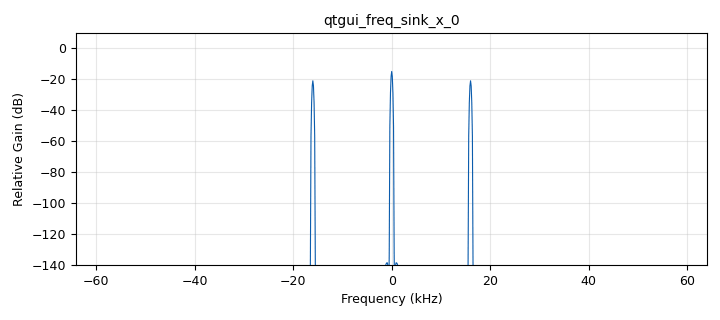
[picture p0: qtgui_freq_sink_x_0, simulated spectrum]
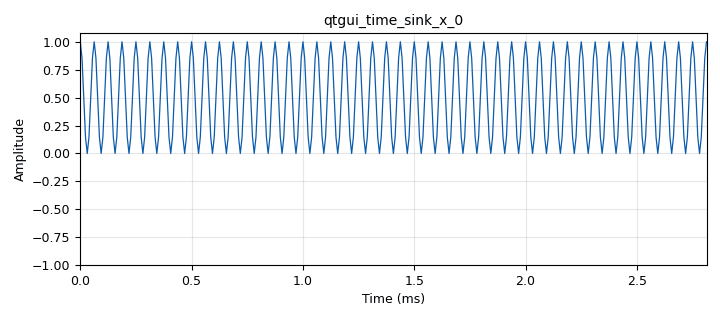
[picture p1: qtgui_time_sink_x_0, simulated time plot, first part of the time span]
options:
  parameters:
    author: DBarrios_SCampo
    generate_options: qt_gui
    id: Parte3
    output_language: python
    title: Prac1_C
  states: {}

blocks:
- name: samp_rate
  id: variable
  parameters:
    value: '128000'
  states: {}
- name: analog_sig_source_x_1
  id: analog_sig_source_x
  parameters:
    amp: '1'
    freq: '8000'
    offset: '0'
    phase: '0'
    samp_rate: samp_rate
    type: float
    waveform: analog.GR_COS_WAVE
  states: {}
- name: analog_sig_source_x_2
  id: analog_sig_source_x
  parameters:
    amp: '1'
    freq: '8000'
    offset: '0'
    phase: '0'
    samp_rate: samp_rate
    type: float
    waveform: analog.GR_COS_WAVE
  states: {}
- name: blocks_multiply_xx_0
  id: blocks_multiply_xx
  parameters:
    type: float
  states: {}
- name: blocks_throttle_0
  id: blocks_throttle
  parameters:
    samples_per_second: samp_rate
    type: float
  states: {}
- name: qtgui_freq_sink_x_0
  id: qtgui_freq_sink_x
  parameters:
    bw: samp_rate
    fc: '0'
    fftsize: '1024'
    type: float
  states: {}
- name: qtgui_time_sink_x_0
  id: qtgui_time_sink_x
  parameters:
    size: '1024'
    srate: samp_rate
    type: float
  states: {}

connections:
- [analog_sig_source_x_1, '0', blocks_multiply_xx_0, '1']
- [analog_sig_source_x_2, '0', blocks_multiply_xx_0, '0']
- [blocks_multiply_xx_0, '0', blocks_throttle_0, '0']
- [blocks_throttle_0, '0', qtgui_freq_sink_x_0, '0']
- [blocks_throttle_0, '0', qtgui_time_sink_x_0, '0']

metadata:
  file_format: 1
